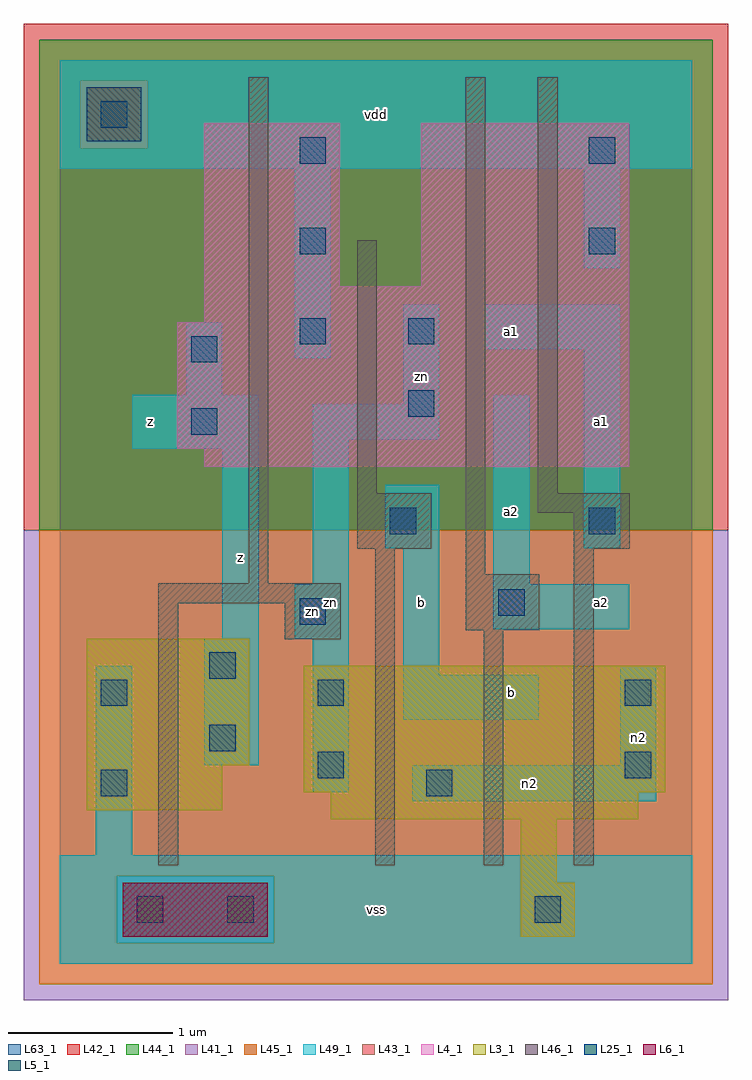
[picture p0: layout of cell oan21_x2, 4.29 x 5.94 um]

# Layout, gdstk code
import gdstk
lib = gdstk.Library(unit=1e-6, precision=1e-09)
def R(c, l, rs):  # rectangles x0, y0, x1, y1
    for r in rs: c.add(gdstk.rectangle(r[:2], r[2:], *l))
def A(c, l, x, y, w, h, nx, ny, dx, dy):  # array of equal rectangles
    R(c, l, [(x+i*dx, y+j*dy, x+i*dx+w, y+j*dy+h) for i in range(nx) for j in range(ny)])
L3_1 = (3, 1)
L4_1 = (4, 1)
L5_1 = (5, 1)
L6_1 = (6, 1)
L25_1 = (25, 1)
L41_1 = (41, 1)
L42_1 = (42, 1)
L43_1 = (43, 1)
L44_1 = (44, 1)
L45_1 = (45, 1)
L46_1 = (46, 1)
L49_1 = (49, 1)
L63_1 = (63, 1)

oan21_x2 = lib.new_cell('oan21_x2')
R(oan21_x2, L3_1, [(2.805,0.165,3.135,0.495), (2.805,0.495,3.025,0.88), (1.65,0.88,3.52,1.045), (0.165,0.935,0.99,1.21), (1.485,1.045,3.685,1.815), (0.165,1.21,1.155,1.98)])
R(oan21_x2, L4_1, [(0.88,3.025,3.465,3.135), (0.715,3.135,3.465,3.905), (0.88,3.905,3.465,4.125), (0.88,4.125,1.705,5.115), (2.2,4.125,3.465,5.115)])
R(oan21_x2, L5_1, [(0.165,5.005,0.495,5.335)])
R(oan21_x2, L6_1, [(0.385,0.165,1.265,0.495)])
A(oan21_x2, L25_1, 1.46, 3.77, 0.16, 0.16, 1, 3, 0, 0.55)
R(oan21_x2, L25_1, [(0.47,0.25,0.63,0.41), (1.02,0.25,1.18,0.41), (2.89,0.25,3.05,0.41), (0.25,1.02,0.41,1.18), (2.23,1.02,2.39,1.18), (1.57,1.13,1.73,1.29), (3.44,1.13,3.6,1.29), (0.91,1.295,1.07,1.455), (0.25,1.57,0.41,1.73), (1.57,1.57,1.73,1.73), (3.44,1.57,3.6,1.73), (0.91,1.735,1.07,1.895), (1.46,2.065,1.62,2.225), (2.67,2.12,2.83,2.28), (2.01,2.615,2.17,2.775), (3.22,2.615,3.38,2.775), (0.8,3.22,0.96,3.38), (2.12,3.33,2.28,3.49), (0.8,3.66,0.96,3.82), (2.12,3.77,2.28,3.93), (3.22,4.32,3.38,4.48), (3.22,4.87,3.38,5.03), (0.25,5.09,0.41,5.25)])
R(oan21_x2, L41_1, [(-0.22,-0.22,4.07,2.64)])
R(oan21_x2, L42_1, [(-0.22,2.64,4.07,5.72)])
R(oan21_x2, L43_1, [(0.385,0.165,1.265,0.495), (2.805,0.165,3.135,0.495), (2.805,0.495,3.025,0.88), (1.65,0.88,3.52,1.045), (0.165,0.935,0.99,1.21), (1.485,1.045,3.685,1.815), (0.165,1.21,1.155,1.98), (0.88,3.025,3.465,3.135), (0.715,3.135,3.465,3.905), (0.88,3.905,3.465,4.125), (0.88,4.125,1.705,5.115), (2.2,4.125,3.465,5.115), (0.165,5.005,0.495,5.335)])
R(oan21_x2, L44_1, [(0.345,0.125,1.305,0.535), (-0.125,2.64,3.975,4.965), (-0.125,4.965,0.125,5.375), (0.535,4.965,3.975,5.375), (-0.125,5.375,3.975,5.625)])
R(oan21_x2, L45_1, [(-0.125,-0.125,3.975,0.125), (-0.125,0.125,0.345,0.535), (1.305,0.125,3.975,0.535), (-0.125,0.535,3.975,2.64), (0.125,4.965,0.535,5.375)])
R(oan21_x2, L46_1, [(0.6,0.6,0.72,2.195), (1.92,0.6,2.04,2.525), (2.58,0.6,2.7,2.03), (3.13,0.6,3.25,2.525), (1.37,1.975,1.71,2.195), (2.47,2.03,2.92,2.37), (0.6,2.195,1.71,2.315), (1.15,2.315,1.27,5.395), (2.47,2.37,2.59,5.395), (1.81,2.525,2.26,2.865), (3.13,2.525,3.47,2.745), (2.91,2.745,3.47,2.865), (1.81,2.865,1.93,4.405), (2.91,2.865,3.03,5.395)])
R(oan21_x2, L49_1, [(0,0,3.85,0.66), (0.22,0.66,0.44,1.815), (2.145,0.99,3.63,1.21), (1.54,1.045,1.76,1.98), (0.88,1.21,1.21,1.98), (3.41,1.21,3.63,1.815), (2.09,1.485,2.915,1.76), (2.09,1.76,2.31,2.53), (0.99,1.98,1.21,3.135), (1.43,1.98,1.76,2.31), (2.64,2.035,3.465,2.31), (1.54,2.31,1.76,3.19), (2.64,2.31,2.86,3.465), (1.98,2.53,2.31,2.915), (3.19,2.53,3.41,3.74), (0.44,3.135,1.21,3.465), (1.54,3.19,2.31,3.41), (2.09,3.41,2.31,4.015), (0.77,3.465,0.99,3.905), (1.43,3.685,1.65,4.84), (2.585,3.74,3.41,4.015), (3.19,4.235,3.41,4.84), (0,4.84,3.85,5.5)])
R(oan21_x2, L63_1, [(0,0,3.85,5.5)])
oan21_x2.add(gdstk.Label('zn', (1.54,2.145), layer=49, texttype=1))
oan21_x2.add(gdstk.Label('z', (1.1,2.475), layer=49, texttype=1))
oan21_x2.add(gdstk.Label('z', (0.55,3.3), layer=49, texttype=1))
oan21_x2.add(gdstk.Label('vss', (1.925,0.33), layer=49, texttype=1))
oan21_x2.add(gdstk.Label('zn', (1.595,2.145), layer=49, texttype=1))
oan21_x2.add(gdstk.Label('zn', (1.65,2.2), layer=49, texttype=1))
oan21_x2.add(gdstk.Label('vdd', (1.925,5.17), layer=49, texttype=1))
oan21_x2.add(gdstk.Label('b', (2.75,1.65), layer=49, texttype=1))
oan21_x2.add(gdstk.Label('b', (2.2,2.2), layer=49, texttype=1))
oan21_x2.add(gdstk.Label('a2', (2.75,2.75), layer=49, texttype=1))
oan21_x2.add(gdstk.Label('zn', (2.2,3.575), layer=49, texttype=1))
oan21_x2.add(gdstk.Label('a1', (2.75,3.85), layer=49, texttype=1))
oan21_x2.add(gdstk.Label('n2', (3.52,1.375), layer=49, texttype=1))
oan21_x2.add(gdstk.Label('n2', (2.86,1.1), layer=49, texttype=1))
oan21_x2.add(gdstk.Label('a2', (3.3,2.2), layer=49, texttype=1))
oan21_x2.add(gdstk.Label('a1', (3.3,3.3), layer=49, texttype=1))

lib.write_gds('oan21_x2.gds')
